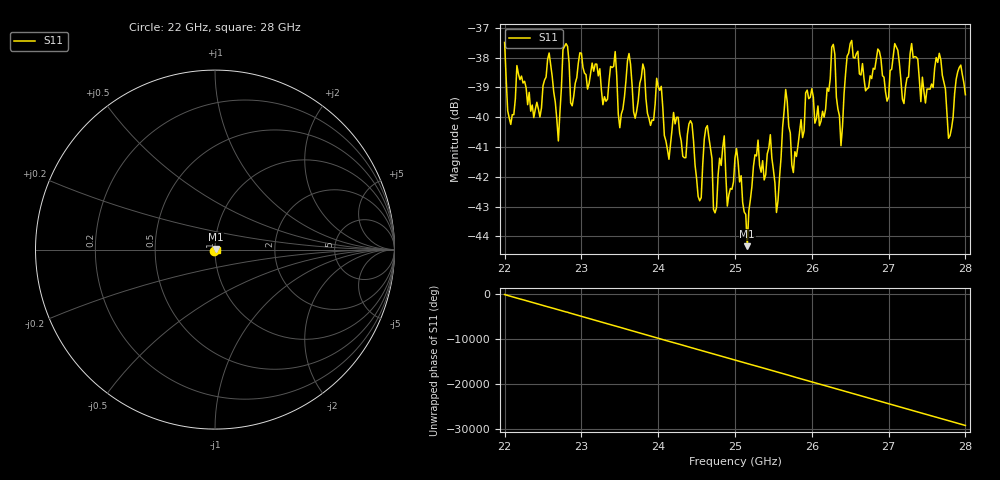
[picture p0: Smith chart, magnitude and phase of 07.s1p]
#  HZ  S  RI  R  50.00
! Rohde & Schwarz ZVA40 4Ports - Version 3.90 - 1145.1110k42 SN: 100403
! Date: 2023-10-04 10:19:40
! Measurement: S12
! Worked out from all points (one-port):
!   301 points, 22 GHz to 28 GHz, reference 50 ohm
!   lowest |S11| = -44.3 dB at 25.16 GHz (marker M1), VSWR 1.01, Z = 50.4 + j0.429 ohm
!   |S11| at or under -10 dB: start of sweep to end of sweep
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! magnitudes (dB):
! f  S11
! 22 GHz  -37.5
! 22.08 GHz  -40.2
! 22.58 GHz  -37.8
! 22.7 GHz  -40.8
! 22.76 GHz  -37.7
! 22.88 GHz  -39.6
! 23.44 GHz  -37.8
! 23.5 GHz  -40.4
! 23.62 GHz  -37.9
! 23.7 GHz  -40.0
! 23.8 GHz  -38.2
! 24.14 GHz  -41.4
! 24.26 GHz  -40.0
! 24.54 GHz  -42.8
! 24.64 GHz  -40.3
! 24.74 GHz  -43.2
! 25 GHz  -41.4
! 25.16 GHz  -44.3
! 25.3 GHz  -40.8
! 25.46 GHz  -40.6
! 25.54 GHz  -43.2
! 25.66 GHz  -39.1
! 25.76 GHz  -41.9
! 26.28 GHz  -37.6
! 26.38 GHz  -41.0
! 26.5 GHz  -37.5
! 27.26 GHz  -38.7
! 28 GHz  -39.2
